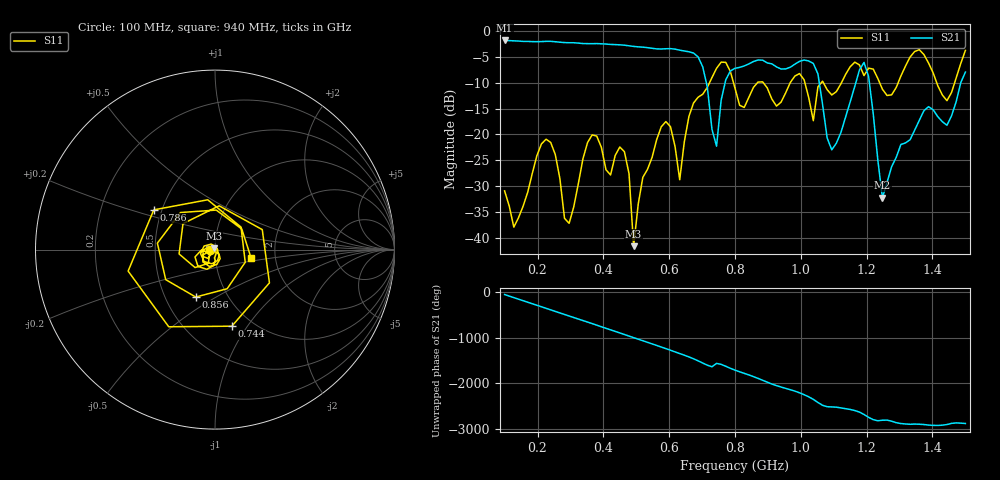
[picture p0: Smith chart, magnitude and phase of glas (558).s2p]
! NanoVNA-App
! Date: 2025-09-25 15:59:49
! Start: 100MHz Stop: 1,5GHz Points: 101
! S-Parameter data: F S11 S21 S12 S22
# Hz S RI R 50
!  Frequency  S11_Real  S11_Imag  S21_Real  S21_Imag  S12_Real  S12_Imag  S22_Real  S22_Imag
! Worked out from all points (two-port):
!   101 points, 100 MHz to 1.5 GHz, reference 50 ohm
!   highest |S21| = -1.80 dB at 100 MHz (marker M1); lowest = -32.3 dB at 1.248 GHz (marker M2)
!   |S21| within 3 dB of the highest: start of sweep to 684.4 MHz
!   lowest |S11| = -41.6 dB at 492 MHz (marker M3), VSWR 1.02, Z = 49.5 + j0.627 ohm
!   |S11| at or under -10 dB: start of sweep to 722.5 MHz; 795.5 MHz to 868 MHz (72.56 MHz wide, 8.72 % of centre); 886.2 MHz to 967.6 MHz (81.42 MHz wide, 8.78 % of centre) (the widest 3 of 7)
!   S12 and S22 are empty: the file has one direction only
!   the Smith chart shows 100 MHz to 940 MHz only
!   S11 on the Smith chart (normalised r, x): 100 MHz: 0.95, -0.01; 744 MHz: 0.81, -0.85; 786 MHz: 0.45, +0.24; 856 MHz: 0.71, -0.41; 940 MHz: 1.49, -0.14
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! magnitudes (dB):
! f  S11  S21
! 100 MHz  -30.9  -1.8
! 128 MHz  -37.9  -1.9
! 226 MHz  -20.9  -2.0
! 296 MHz  -37.2  -2.2
! 338 MHz  -24.7  -2.4
! 464 MHz  -23.3  -2.7
! 492 MHz  -41.6  -3.0
! 576 MHz  -18.5  -3.5
! 632 MHz  -28.8  -3.7
! 702 MHz  -12.2  -6.9
! 744 MHz  -7.2  -22.3
! 786 MHz  -7.8  -7.7
! 800 MHz  -11.0  -7.2
! 856 MHz  -10.9  -5.9
! 940 MHz  -13.7  -7.3
! 1.038 GHz  -17.3  -6.3
! 1.094 GHz  -12.4  -23.0
! 1.192 GHz  -8.6  -6.1
! 1.248 GHz  -11.3  -32.3
! 1.276 GHz  -12.3  -26.2
! 1.444 GHz  -13.5  -18.2
! 1.5 GHz  -3.7  -7.9
